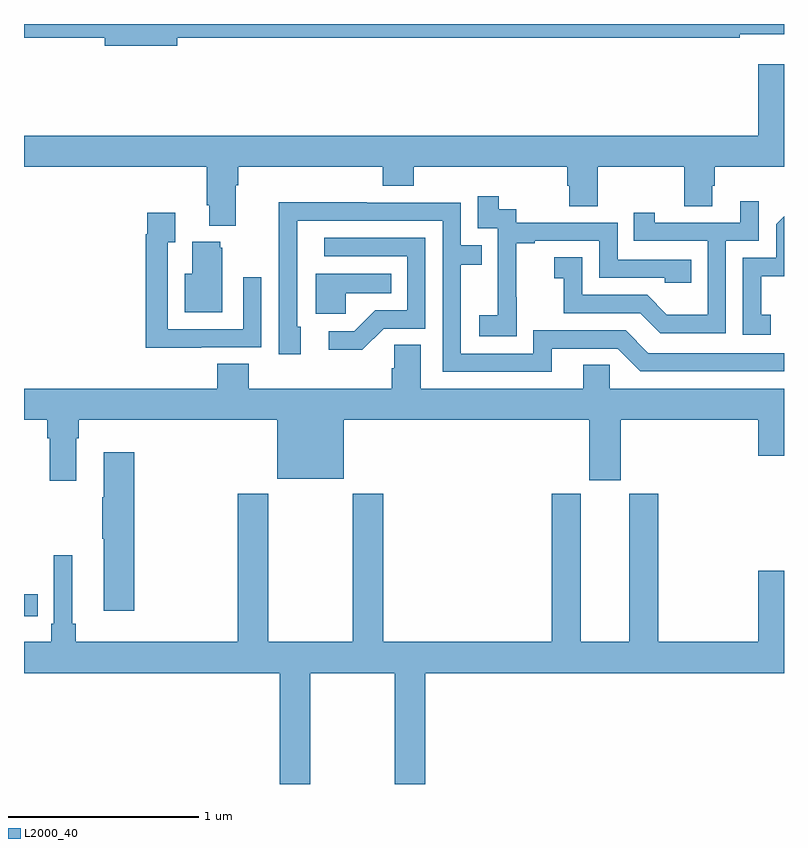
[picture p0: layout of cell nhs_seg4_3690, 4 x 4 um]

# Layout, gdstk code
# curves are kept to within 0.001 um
import gdstk
lib = gdstk.Library(unit=1e-6, precision=1e-09)
def R(c, l, rs):  # rectangles x0, y0, x1, y1
    for r in rs: c.add(gdstk.rectangle(r[:2], r[2:], *l))
def P(c, l, *ps):  # polygons
    for p in ps: c.add(gdstk.Polygon(p, *l))
L2000_40 = (2000, 40)

nhs_seg4_3690 = lib.new_cell('nhs_seg4_3690')
R(nhs_seg4_3690, L2000_40, [(305,799.782,305.072,799.898)])
P(nhs_seg4_3690, L2000_40, [(305.806,802.828),(308.768,802.828),(308.768,802.847),(309,802.847),(309,802.9),(305,802.9),(305,802.828),(305.426,802.828),(305.426,802.786),(305.806,802.786)],
  [(306.115,802.052),(306.128,802.052),(306.128,802.148),(306.887,802.148),(306.887,802.049),(307.052,802.049),(307.052,802.148),(307.859,802.148),(307.859,802.05),(307.871,802.05),(307.871,801.94),(308.019,801.94),(308.019,802.148),(308.476,802.148),(308.476,801.94),(308.623,801.94),(308.623,802.05),(308.636,802.05),(308.636,802.148),(309,802.148),(309,802.687),(308.864,802.687),(308.864,802.312),(305,802.312),(305,802.148),(305.963,802.148),(305.963,801.946),(305.975,801.946),(305.975,801.839),(306.115,801.839)],
  [(307.593,801.463),(307.592,801.463),(307.592,801.747),(307.687,801.747),(307.687,801.759),(308.028,801.759),(308.028,801.564),(308.373,801.564),(308.373,801.537),(308.513,801.537),(308.513,801.66),(308.124,801.66),(308.124,801.855),(307.59,801.855),(307.59,801.924),(307.498,801.924),(307.498,801.994),(307.389,801.994),(307.389,801.825),(307.494,801.825),(307.494,801.596),(307.493,801.596),(307.493,801.367),(307.395,801.367),(307.395,801.257),(307.593,801.257)],
  [(308.694,801.759),(308.868,801.759),(308.868,801.967),(308.771,801.967),(308.771,801.855),(308.32,801.855),(308.32,801.907),(308.209,801.907),(308.209,801.759),(308.598,801.759),(308.598,801.37),(308.384,801.37),(308.28,801.474),(307.938,801.474),(307.938,801.673),(307.791,801.673),(307.791,801.563),(307.84,801.563),(307.84,801.378),(308.243,801.378),(308.348,801.273),(308.694,801.273)],
  [(307.777,801.192),(308.124,801.192),(308.244,801.072),(309,801.072),(309,801.168),(308.286,801.168),(308.166,801.288),(307.68,801.288),(307.68,801.165),(307.299,801.165),(307.299,801.634),(307.409,801.634),(307.409,801.735),(307.299,801.735),(307.299,801.96),(306.803,801.96),(306.803,801.962),(306.34,801.962),(306.34,801.655),(306.342,801.655),(306.342,801.162),(306.457,801.162),(306.457,801.306),(306.438,801.306),(306.439,801.864),(307.203,801.864),(307.203,801.069),(307.777,801.069)],
  [(305.933,801.198),(306.249,801.198),(306.249,801.568),(306.153,801.568),(306.153,801.294),(305.757,801.294),(305.757,801.751),(305.797,801.751),(305.797,801.907),(305.649,801.907),(305.649,801.794),(305.641,801.794),(305.641,801.197),(305.933,801.197)],
  [(308.93,801.369),(308.881,801.369),(308.881,801.573),(309,801.573),(309,801.888),(308.958,801.846),(308.958,801.669),(308.784,801.669),(308.784,801.264),(308.93,801.264)],
  [(306.894,801.297),(307.113,801.297),(307.113,801.774),(306.579,801.774),(306.579,801.678),(307.017,801.678),(307.017,801.393),(306.848,801.393),(306.737,801.282),(306.603,801.282),(306.603,801.185),(306.781,801.185)],
  [(306.043,801.723),(306.032,801.723),(306.032,801.754),(305.885,801.754),(305.885,801.586),(305.846,801.586),(305.846,801.383),(306.043,801.383)],
  [(306.693,801.482),(306.932,801.482),(306.932,801.586),(306.536,801.586),(306.536,801.374),(306.693,801.374)],
  [(305.275,800.72),(305.288,800.72),(305.288,800.816),(306.332,800.816),(306.332,800.507),(306.682,800.507),(306.682,800.816),(307.976,800.816),(307.976,800.499),(308.14,800.499),(308.14,800.816),(308.864,800.816),(308.864,800.628),(309,800.628),(309,800.98),(308.082,800.98),(308.082,801.107),(307.943,801.107),(307.943,800.98),(307.087,800.98),(307.087,801.212),(306.948,801.212),(306.948,801.089),(306.935,801.089),(306.935,800.98),(306.182,800.98),(306.182,801.113),(306.017,801.113),(306.017,800.98),(305,800.98),(305,800.816),(305.123,800.816),(305.123,800.72),(305.135,800.72),(305.135,800.496),(305.275,800.496)],
  [(305.579,800.647),(305.42,800.647),(305.42,800.408),(305.413,800.408),(305.413,800.191),(305.42,800.191),(305.42,799.812),(305.579,799.812)],
  [(306.507,799.484),(306.952,799.484),(306.952,798.9),(307.112,798.9),(307.112,799.484),(309,799.484),(309,800.023),(308.864,800.023),(308.864,799.648),(308.339,799.648),(308.339,800.427),(308.186,800.427),(308.186,799.648),(307.93,799.648),(307.93,800.427),(307.778,800.427),(307.778,799.648),(306.89,799.648),(306.89,800.428),(306.73,800.428),(306.73,799.648),(306.285,799.648),(306.285,800.428),(306.125,800.428),(306.125,799.648),(305.273,799.648),(305.273,799.744),(305.254,799.744),(305.254,800.104),(305.157,800.104),(305.157,799.744),(305.144,799.744),(305.144,799.648),(305,799.648),(305,799.484),(306.347,799.484),(306.347,798.9),(306.507,798.9)])

lib.write_gds('nhs_seg4_3690.gds')
